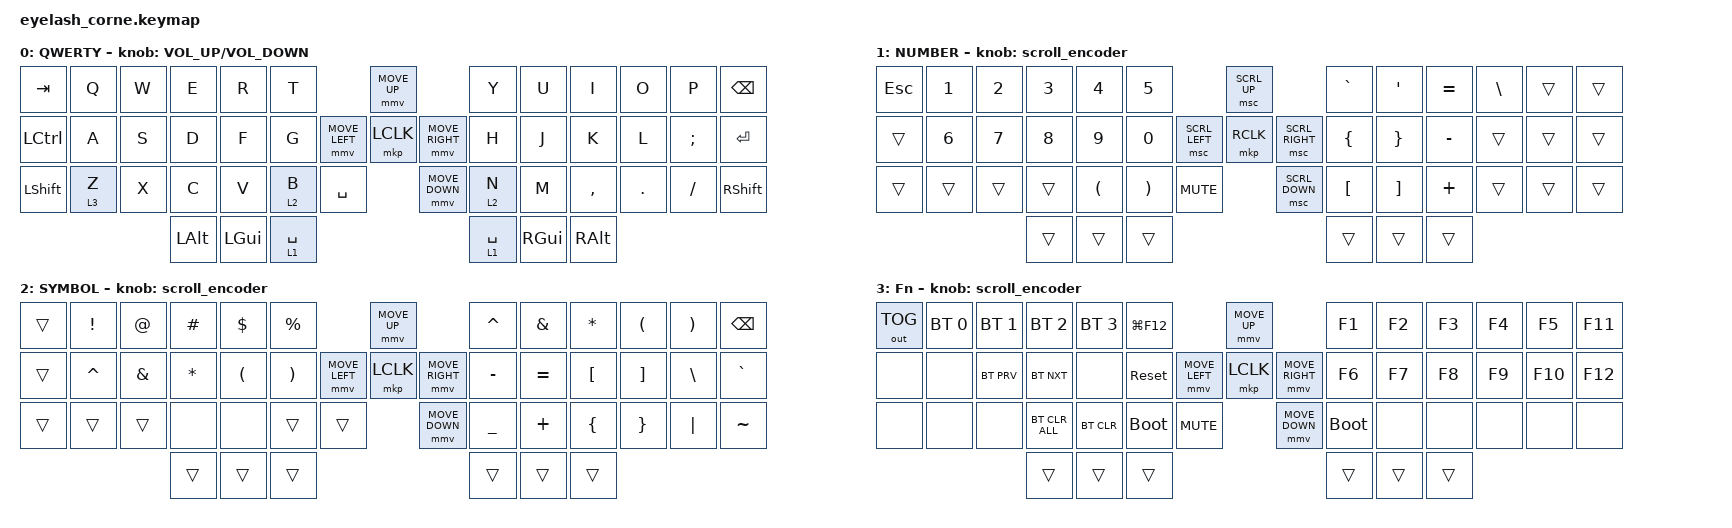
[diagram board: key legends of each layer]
#define ZMK_POINTING_DEFAULT_MOVE_VAL 1200  // 600
#define ZMK_POINTING_DEFAULT_SCRL_VAL 25   // 10

#include <input/processors.dtsi>
#include <zephyr/dt-bindings/input/input-event-codes.h>
#include <behaviors.dtsi>
#include <dt-bindings/zmk/bt.h>
#include <dt-bindings/zmk/keys.h>
#include <dt-bindings/zmk/outputs.h>
#include <dt-bindings/zmk/pointing.h>
#include <dt-bindings/zmk/rgb.h>

&mmv_input_listener { input-processors = <&zip_xy_scaler 3 5>; };

&msc_input_listener { input-processors = <&zip_scroll_scaler 3 5>; };

&msc {
    acceleration-exponent = <0>;      // 0
    time-to-max-speed-ms = <100>;       // 300
    delay-ms = <0>;                   // 0
};

&mmv {
    time-to-max-speed-ms = <100>;
    acceleration-exponent = <0>;
    trigger-period-ms = <16>;
};

/ {
    behaviors {
        td0: td0 {
            compatible = "zmk,behavior-tap-dance";
            display-name = "Shift/Caps Lock Tap Dance";
            #binding-cells = <0>;
            bindings = <&kp LEFT_SHIFT>, <&kp CAPS>;
        };
    };

    rgb_encoder: rgb_encoder {
        compatible = "zmk,behavior-sensor-rotate";
        #sensor-binding-cells = <0>;
        bindings = <&rgb_ug RGB_BRI>, <&rgb_ug RGB_BRD>;
    };

    scroll_encoder: scroll_encoder {
        compatible = "zmk,behavior-sensor-rotate";
        #sensor-binding-cells = <0>;
        bindings = <&msc SCRL_DOWN>, <&msc SCRL_UP>;

        tap-ms = <100>;
    };

    keymap {
        compatible = "zmk,keymap";

        default_layer {
            display-name = "QWERTY";
            bindings = <
&kp TAB           &kp Q    &kp W  &kp E         &kp R         &kp T                                     &mmv MOVE_UP                     &kp Y        &kp U          &kp I      &kp O    &kp P     &kp BSPC
&kp LEFT_CONTROL  &kp A    &kp S  &kp D         &kp F         &kp G                     &mmv MOVE_LEFT  &mkp LCLK       &mmv MOVE_RIGHT  &kp H        &kp J          &kp K      &kp L    &kp SEMI  &kp ENTER
&kp LEFT_SHIFT    &lt 3 Z  &kp X  &kp C         &kp V         &lt 2 B      &kp SPACE                    &mmv MOVE_DOWN                   &lt 2 N      &kp M          &kp COMMA  &kp DOT  &kp FSLH  &kp RIGHT_SHIFT
                                  &kp LEFT_ALT  &kp LEFT_GUI  &lt 1 SPACE                                                                &lt 1 SPACE  &kp RIGHT_GUI  &kp RALT
            >;

            sensor-bindings = <&inc_dec_kp C_VOLUME_UP C_VOLUME_DOWN>;
        };

        lower_layer {
            display-name = "NUMBER";
            bindings = <
&kp ESCAPE  &kp N1  &kp N2  &kp N3  &kp N4                &kp N5                                               &msc SCRL_UP                     &kp GRAVE         &kp SQT            &kp EQUAL  &kp BACKSLASH  &trans  &trans
&trans      &kp N6  &kp N7  &kp N8  &kp N9                &kp N0                               &msc SCRL_LEFT  &mkp RCLK       &msc SCRL_RIGHT  &kp LEFT_BRACE    &kp RIGHT_BRACE    &kp MINUS  &trans         &trans  &trans
&trans      &trans  &trans  &trans  &kp LEFT_PARENTHESIS  &kp RIGHT_PARENTHESIS  &kp C_MUTE                    &msc SCRL_DOWN                   &kp LEFT_BRACKET  &kp RIGHT_BRACKET  &kp PLUS   &trans         &trans  &trans
                            &trans  &trans                &trans                                                                                &trans            &trans             &trans
            >;

            sensor-bindings = <&scroll_encoder>;
        };

        raise_layer {
            display-name = "SYMBOL";
            bindings = <
&trans  &kp EXCL   &kp AT         &kp HASH      &kp DLLR              &kp PRCNT                                        &mmv MOVE_UP                     &kp CARET  &kp AMPS   &kp ASTRK  &kp LPAR  &kp RPAR  &kp BSPC
&trans  &kp CARET  &kp AMPERSAND  &kp ASTERISK  &kp LEFT_PARENTHESIS  &kp RIGHT_PARENTHESIS            &mmv MOVE_LEFT  &mkp LCLK       &mmv MOVE_RIGHT  &kp MINUS  &kp EQUAL  &kp LBKT   &kp RBKT  &kp BSLH  &kp GRAVE
&trans  &trans     &trans         &none         &none                 &trans                 &trans                    &mmv MOVE_DOWN                   &kp UNDER  &kp PLUS   &kp LBRC   &kp RBRC  &kp PIPE  &kp TILDE
                                  &trans        &trans                &trans                                                                            &trans     &trans     &trans
            >;

            sensor-bindings = <&scroll_encoder>;
        };

        layer_3 {
            display-name = "Fn";
            bindings = <
&out OUT_TOG  &bt BT_SEL 0  &bt BT_SEL 1  &bt BT_SEL 2    &bt BT_SEL 3  &kp LG(F12)                                &mmv MOVE_UP                     &kp F1       &kp F2  &kp F3  &kp F4  &kp F5   &kp F11
&none         &none         &bt BT_PRV    &bt BT_NXT      &none         &sys_reset                 &mmv MOVE_LEFT  &mkp LCLK       &mmv MOVE_RIGHT  &kp F6       &kp F7  &kp F8  &kp F9  &kp F10  &kp F12
&none         &none         &none         &bt BT_CLR_ALL  &bt BT_CLR    &bootloader  &kp C_MUTE                    &mmv MOVE_DOWN                   &bootloader  &none   &none   &none   &none    &none
                                          &trans          &trans        &trans                                                                      &trans       &trans  &trans
            >;

            sensor-bindings = <&scroll_encoder>;
        };
    };
};
